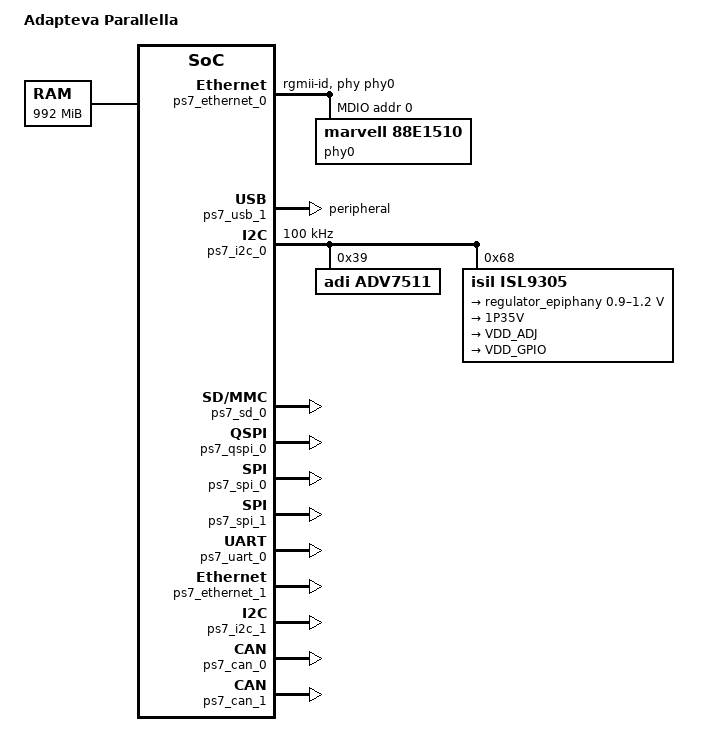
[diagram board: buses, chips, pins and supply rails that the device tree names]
/* TODO why do I have to include this when it is already included in the .dts file */
/include/ "zynq7-base.dtsi"

/* TODO why cant I add the gpio file
#include <dt-bindings/gpio/gpio.h> */

/ {
	model = "Adapteva Parallella";
	chosen {
		bootargs = "console=ttyPS0,115200 root=/dev/ram rw earlyprintk";
		linux,stdout-path = "/amba@0/serial@e0001000";
	} ;
	ps7_ddr_0: memory@0 {
		device_type = "memory";
		reg = < 0x0 0x3e000000 >;
	} ;

	reserved-memory {
		#address-cells = <1>;
		#size-cells = <1>;
		ranges;
		no-map;
		emem: emem@3e00000 {
			reg = <0x3e000000 0x2000000>;
		};
	};

	ps7_axi_interconnect_0: amba@0 {
		ps7_slcr_0: ps7-slcr@f8000000 {
			clkc: clkc@100 {
				ps-clk-frequency = <33333333>;
			} ;
		} ;

		ps7_ethernet_0: ps7-ethernet@e000b000 {
			phy-handle = <&phy0>;
			phy-mode = "rgmii-id";
			mdio {
				phy0: phy@0 {
					compatible = "marvell,88e1510";
					device_type = "ethernet-phy";
					reg = <0>;
					marvell,reg-init = <0x3 0x10 0xff00 0x1e 0x3 0x11 0xfff0 0xa>;
				} ;
			} ;
		} ;

		/* J6 - USB Host (Next to HDMI) */
		ps7_usb_0: ps7-usb@e0002000 {
			dr_mode = "host";
		};
		/* J7 - USB Device (Next to Ethernet) */
		ps7_usb_1: ps7-usb@e0003000 {
			dr_mode = "peripheral";
			compatible = "invalid";
		};

		/* Main I2C Bus */
		ps7_i2c_0: ps7-i2c@e0004000 {
			compatible = "cdns,i2c-r1p10";
			reg = <0xe0004000 0x1000>;
			interrupts = <0 25 4>;
			interrupt-parent = <&ps7_scugic_0>;
			bus-id = <0x0>;
			clocks = <&clkc 38>;
			clock-frequency = <100000>;
			#address-cells = <0x1>;
			#size-cells = <0x0>;
			adv7511: adv7511@39 {
				compatible = "adi,adv7511";
				reg = <0x39>;
				adi,input-style = <0x2>;
				adi,input-id = <0x1>;
				adi,input-color-depth = <0x0>;
				adi,sync-pulse = <0x3>;
				adi,bit-justification = <0x0>;
				adi,up-conversion = <0x0>;
				adi,timing-generation-sequence = <0x0>;
				adi,vsync-polarity = <0x2>;
				adi,hsync-polarity = <0x2>;
				adi,tdms-clock-inversion;
				adi,clock-delay = <0x3>;
			};
			isl9305: isl9305@68 {
				compatible = "isil,isl9305";
				reg = <0x68>;

				regulators {
					regulator_epiphany: dcd1 {
						regulator-name = "VDD_DSP";
						regulator-min-microvolt =  <900000>;
						regulator-max-microvolt = <1200000>;
					};
					dcd2 {
						regulator-name = "1P35V";
						regulator-always-on;
					};
					ldo1 {
						regulator-name = "VDD_ADJ";
						regulator-always-on;
					};
					ldo2 {
						regulator-name = "VDD_GPIO";
						regulator-always-on;
					};
				};
			};

		};

		/* Disabled/Unused Devices */
		ps7_sd_0: ps7-sdio@e0100000 { compatible = "invalid"; };
		ps7_qspi_0: ps7-qspi@e000d000 { compatible = "invalid"; };
		ps7_spi_0: ps7-spi@e0006000 { compatible = "invalid"; };
		ps7_spi_1: ps7-spi@e0007000 { compatible = "invalid"; };
		ps7_uart_0: serial@e0000000 { compatible = "invalid"; };
		ps7_ethernet_1: ps7-ethernet@e000c000 { compatible = "invalid"; };
		ps7_i2c_1: ps7-i2c@e0005000 { compatible = "invalid"; };
		ps7_can_0: ps7-can@e0008000 { compatible = "invalid"; };
		ps7_can_1: ps7-can@e0009000 { compatible = "invalid"; };
	} ;

	fpga_axi: fpga-axi@0 {
		compatible = "simple-bus";
		#address-cells = <0x1>;
		#size-cells = <0x1>;
		ranges;
		elink2_esaxi_0: esaxi@80000000 {
			compatible = "adapteva,elink";
			interrupts = <0 55 1>;
			interrupt-parent = <&ps7_scugic_0>;

			clocks = <&clkc 15>, <&clkc 16>, <&clkc 17>, <&clkc 18>;
			clock-names = "fclk0", "fclk1", "fclk2", "fclk3";

			#address-cells = <2>; /* <north-west core's id, side (NESW)> */
			#size-cells = <2>; /* <#chip rows, #chip cols> */

			/* Can have more than one reserved memory region. Memory regions
			 * can be shared by elinks.  */
			memory-region = <&emem>;

			/* Can have at most one child node with compatible string
			 * "adapteva,array" or "adapteva,gpio" ??? */

			/* First range is FPGA config regs.
			 * Second range is mappable emesh region.
			 * _4_ * 64 * (1<<20)
			 */
			reg = <0x81000000 0x100000>, <0x80000000 0x10000000>;

			/* (Optional) coreid pin-out register(s) configuration. */
			/* If we add some constraints we could derive this from the
			 * child node ???
			 */
			/*adapteva,coreid = <0x808>; */

			/* No connection between elink coreid pins and the Epiphany chip */
			adapteva,no-coreid-pinout;

			/* Initial FPGA elink MMU config. This is hardcoded in the FPGA
			 * code now.
			 * Not sure if we actually need it here. Driver needs to probe
			 * bitstream version to check whether it is supported or not
			 * anyways. And if not this is the only mapping we will allow */
			adapteva,mmu = <0x8e000000 0x3e000000 0x02000000>;

			/* Optional power / thermal control. Will not implement much for
			 * now but will read supply voltage to check if we can
			 * run chip elink TX at full speed. Can be a list. */
			vdd-supply = <&regulator_epiphany>; /* Can be a list */
			/*io-channels = <&adc 0>;*/
			/*io-channel-names = "zynq_temp";*/

			array0@808 {
				compatible = "adapteva,chip-array";
				/* North-westmost coreid, #NESW, #chip rows, #chip cols */
				reg = <0x808 1 1 1>;

/*
				// reg North=0, East=1, South=2, West=3
				ports {
					#address-cells = <1>;
					#size-cells = <0>;
					port@0 {
						reg = <1>;

						array0_east: endpoint {
							remote-endpoint = <&elink0_port>;
						};
					};
				};
*/
			};
		};
	};
};
